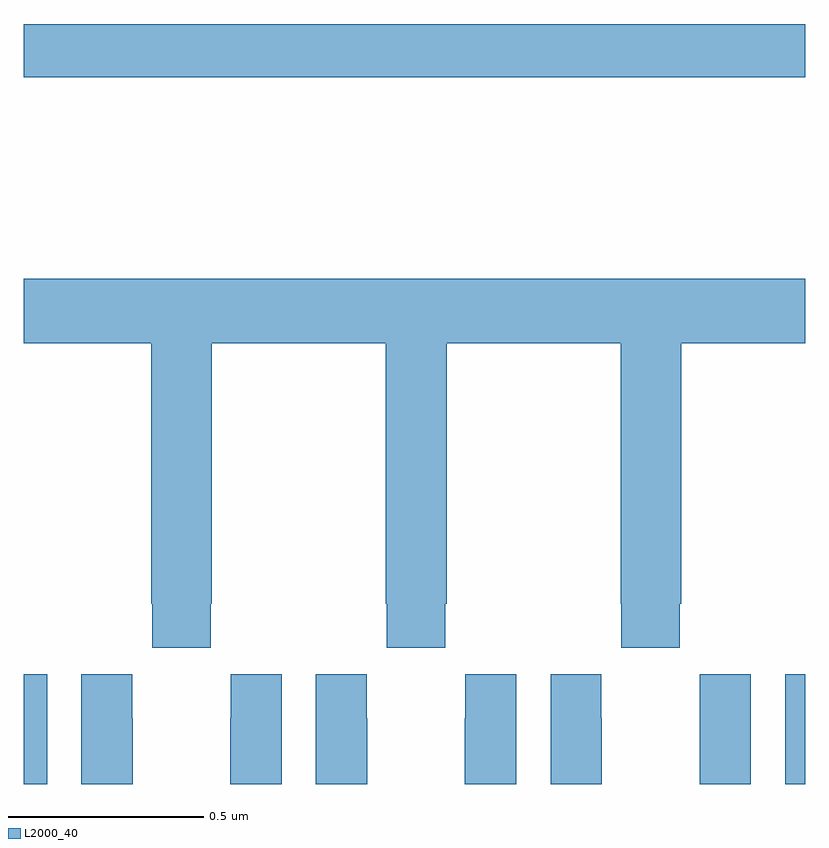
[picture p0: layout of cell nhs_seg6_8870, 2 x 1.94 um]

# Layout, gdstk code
import gdstk
lib = gdstk.Library(unit=1e-6, precision=1e-09)
def R(c, l, rs):  # rectangles x0, y0, x1, y1
    for r in rs: c.add(gdstk.rectangle(r[:2], r[2:], *l))
def P(c, l, *ps):  # polygons
    for p in ps: c.add(gdstk.Polygon(p, *l))
L2000_40 = (2000, 40)

nhs_seg6_8870 = lib.new_cell('nhs_seg6_8870')
R(nhs_seg6_8870, L2000_40, [(226,987.5,226.06,987.781), (227.948,987.5,228,987.781), (226,989.308,228,989.444)])
P(nhs_seg6_8870, L2000_40, [(226.479,987.961),(226.482,987.961),(226.482,988.628),(226.927,988.628),(226.927,987.961),(226.929,987.961),(226.929,987.849),(227.079,987.849),(227.079,987.961),(227.082,987.961),(227.082,988.628),(227.527,988.628),(227.527,987.961),(227.529,987.961),(227.529,987.849),(227.679,987.849),(227.679,987.961),(227.682,987.961),(227.682,988.628),(228,988.628),(228,988.792),(226,988.792),(226,988.628),(226.327,988.628),(226.327,987.961),(226.329,987.961),(226.329,987.849),(226.479,987.849)],
  [(226.279,987.668),(226.278,987.668),(226.278,987.781),(226.148,987.781),(226.148,987.5),(226.279,987.5)],
  [(226.66,987.781),(226.53,987.781),(226.53,987.668),(226.529,987.668),(226.529,987.5),(226.66,987.5)],
  [(226.879,987.668),(226.878,987.668),(226.878,987.781),(226.748,987.781),(226.748,987.5),(226.879,987.5)],
  [(227.26,987.781),(227.13,987.781),(227.13,987.668),(227.129,987.668),(227.129,987.5),(227.26,987.5)],
  [(227.479,987.668),(227.478,987.668),(227.478,987.781),(227.348,987.781),(227.348,987.5),(227.479,987.5)],
  [(227.86,987.781),(227.73,987.781),(227.73,987.668),(227.729,987.668),(227.729,987.5),(227.86,987.5)])

lib.write_gds('nhs_seg6_8870.gds')
